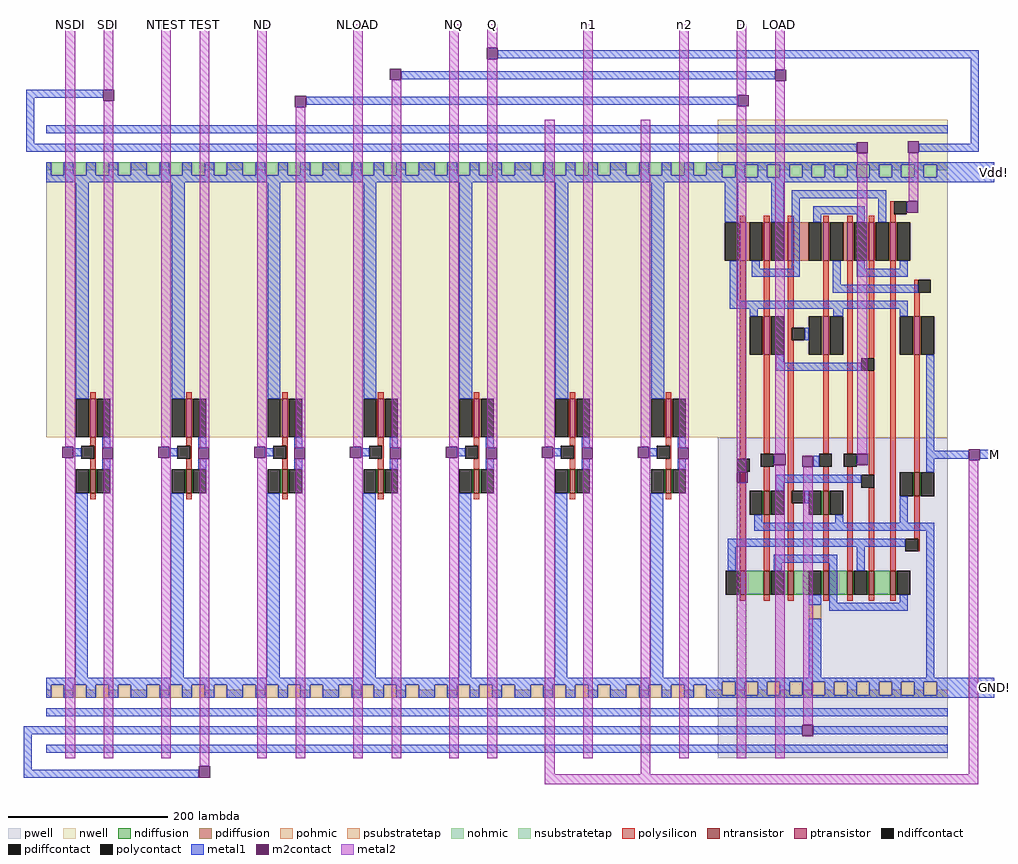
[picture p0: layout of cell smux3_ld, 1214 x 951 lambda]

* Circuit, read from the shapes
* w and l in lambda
.subckt smux3_ld D GND! LOAD M ND NLOAD NQ NSDI NTEST Q SDI TEST Vdd! n1 n2
M1 SDI NSDI GND! VSUBS nfet w=30 l=7
M2 TEST NTEST GND! VSUBS nfet w=30 l=7
M3 D ND GND! VSUBS nfet w=30 l=7
M4 LOAD NLOAD GND! VSUBS nfet w=30 l=7
M5 Q NQ GND! VSUBS nfet w=30 l=7
M6 n1 M GND! VSUBS nfet w=30 l=7
M7 n2 M GND! VSUBS nfet w=30 l=7
M8 n3 D n4 VSUBS nfet w=30 l=7
M9 n5 LOAD n3 VSUBS nfet w=30 l=7
M10 n6 LOAD GND! VSUBS nfet w=30 l=7
M11 n7 n8 n5 VSUBS nfet w=30 l=7
M12 n9 TEST n7 VSUBS nfet w=30 l=7
M13 GND! TEST n8 VSUBS nfet w=30 l=7
M14 n4 SDI n9 VSUBS nfet w=30 l=7
M15 n10 n6 n4 VSUBS nfet w=30 l=7
M16 n5 Q n10 VSUBS nfet w=30 l=7
M17 M n4 GND! VSUBS nfet w=30 l=7
M18 SDI NSDI Vdd! n11 pfet w=48 l=7
M19 TEST NTEST Vdd! n11 pfet w=48 l=7
M20 D ND Vdd! n11 pfet w=48 l=7
M21 LOAD NLOAD Vdd! n11 pfet w=48 l=7
M22 Q NQ Vdd! n11 pfet w=48 l=7
M23 n1 M Vdd! n11 pfet w=48 l=7
M24 n2 M Vdd! n11 pfet w=48 l=7
M25 n12 D Vdd! n11 pfet w=48 l=7
M26 n6 LOAD Vdd! n11 pfet w=48 l=7
M27 Vdd! LOAD n12 n11 pfet w=48 l=7
M28 n13 n8 Vdd! n11 pfet w=48 l=7
M29 Vdd! TEST n8 n11 pfet w=48 l=7
M30 n4 TEST n13 n11 pfet w=48 l=7
M31 n13 SDI n4 n11 pfet w=48 l=7
M32 n12 n6 n13 n11 pfet w=48 l=7
M33 n13 Q n12 n11 pfet w=48 l=7
M34 M n4 Vdd! n11 pfet w=48 l=7
.ends

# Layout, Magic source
magic
tech c035u
<< metal1 >>
rect 593 908 1195 918
rect 472 882 940 892
rect 3 859 99 869
rect 3 801 13 859
rect 353 850 893 860
rect 1185 801 1195 908
rect 3 791 28 801
rect 1156 791 1195 801
rect 1156 753 1214 778
rect 1156 407 1182 417
rect 1196 407 1214 418
rect 1156 108 1214 133
rect 0 62 28 72
rect 0 18 10 62
rect 0 8 219 18
<< m2contact >>
rect 579 907 593 921
rect 458 881 472 895
rect 940 880 954 894
rect 99 855 113 869
rect 339 847 353 861
rect 893 848 907 862
rect 1182 405 1196 419
rect 219 8 233 22
<< metal2 >>
rect 52 831 64 951
rect 100 869 112 951
rect 100 831 112 855
rect 172 831 184 951
rect 220 831 232 951
rect 292 831 304 951
rect 340 831 352 847
rect 412 831 424 951
rect 460 831 472 881
rect 532 831 544 951
rect 580 921 592 951
rect 580 831 592 907
rect 700 831 712 951
rect 820 831 832 951
rect 892 862 904 951
rect 940 894 952 951
rect 892 848 893 862
rect 892 831 904 848
rect 940 831 952 880
rect 220 22 232 32
rect 652 12 664 32
rect 772 12 784 32
rect 1182 12 1194 405
rect 652 0 1194 12
use inv inv_0
array 0 6 120 0 0 799
transform 1 0 28 0 1 32
box 0 0 120 799
use smux3 smux3_0
transform 1 0 868 0 1 32
box 0 0 288 799
<< labels >>
rlabel metal1 1214 108 1214 133 7 GND!
rlabel metal1 1214 753 1214 778 7 Vdd!
rlabel metal2 52 951 64 951 5 NSDI
rlabel metal2 100 951 112 951 5 SDI
rlabel metal2 172 951 184 951 5 NTEST
rlabel metal2 220 951 232 951 5 TEST
rlabel metal2 892 951 904 951 5 D
rlabel metal2 940 951 952 951 5 LOAD
rlabel metal2 292 951 304 951 5 ND
rlabel metal2 412 951 424 951 5 NLOAD
rlabel metal2 532 951 544 951 5 NQ
rlabel metal2 700 951 712 951 5 n1
rlabel metal2 820 951 832 951 5 n2
rlabel metal1 1214 407 1214 417 7 M
rlabel metal2 580 951 592 951 5 Q
<< end >>

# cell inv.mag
magic
tech c035u
<< nwell >>
rect 0 402 120 746
<< polysilicon >>
rect 55 450 62 458
rect 55 391 62 402
rect 60 375 62 391
rect 55 362 62 375
rect 55 324 62 332
<< ndiffusion >>
rect 53 332 55 362
rect 62 332 64 362
<< pdiffusion >>
rect 53 402 55 450
rect 62 402 64 450
<< pohmic >>
rect 0 76 6 86
rect 22 76 34 86
rect 50 76 62 86
rect 78 76 90 86
rect 106 76 120 86
<< nohmic >>
rect 0 736 6 746
rect 22 736 34 746
rect 50 736 62 746
rect 78 736 90 746
rect 106 736 120 746
<< ntransistor >>
rect 55 332 62 362
<< ptransistor >>
rect 55 402 62 450
<< polycontact >>
rect 44 375 60 391
<< ndiffcontact >>
rect 37 332 53 362
rect 64 332 80 362
<< pdiffcontact >>
rect 37 402 53 450
rect 64 402 80 450
<< psubstratetap >>
rect 6 76 22 92
rect 34 76 50 92
rect 62 76 78 92
rect 90 76 106 92
<< nsubstratetap >>
rect 6 730 22 746
rect 34 730 50 746
rect 62 730 78 746
rect 90 730 106 746
<< metal1 >>
rect 0 782 120 792
rect 0 759 120 769
rect 0 730 6 746
rect 22 730 34 746
rect 50 730 62 746
rect 78 730 90 746
rect 106 730 120 746
rect 0 721 120 730
rect 37 450 53 721
rect 34 378 44 388
rect 70 389 80 402
rect 70 362 80 375
rect 36 101 52 332
rect 0 92 120 101
rect 0 76 6 92
rect 22 76 34 92
rect 50 76 62 92
rect 78 76 90 92
rect 106 76 120 92
rect 0 53 120 63
rect 0 30 120 40
rect 0 7 120 17
<< m2contact >>
rect 20 376 34 390
rect 70 375 84 389
<< metal2 >>
rect 24 390 36 799
rect 34 376 36 390
rect 72 389 84 799
rect 24 0 36 376
rect 72 0 84 375
<< labels >>
rlabel metal1 0 721 0 746 7 Vdd!
rlabel metal1 0 759 0 769 7 Scan
rlabel metal1 0 782 0 792 6 ScanReturn
rlabel metal1 120 721 120 746 7 Vdd!
rlabel metal1 120 759 120 769 7 Scan
rlabel metal1 120 782 120 792 6 ScanReturn
rlabel metal2 24 799 36 799 5 A
rlabel metal2 72 799 84 799 5 Y
rlabel metal1 0 76 0 101 7 GND!
rlabel metal1 0 53 0 63 7 Clock
rlabel metal1 0 30 0 40 7 Test
rlabel metal1 0 7 0 17 8 nReset
rlabel metal1 120 7 120 17 8 nReset
rlabel metal1 120 30 120 40 7 Test
rlabel metal1 120 53 120 63 7 Clock
rlabel metal1 120 76 120 101 7 GND!
rlabel metal2 24 0 36 0 1 A
rlabel metal2 72 0 84 0 1 Y
<< end >>

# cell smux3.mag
magic
tech c035u
<< nwell >>
rect 0 401 288 799
<< pwell >>
rect 0 0 288 401
<< polysilicon >>
rect 216 681 221 697
rect 28 671 35 679
rect 58 671 65 679
rect 88 671 95 679
rect 132 671 139 679
rect 162 671 169 679
rect 189 671 196 679
rect 216 671 223 681
rect 28 375 35 623
rect 58 553 65 623
rect 88 539 95 623
rect 132 553 139 623
rect 88 523 93 539
rect 58 381 65 505
rect 28 235 35 359
rect 58 335 65 365
rect 88 335 95 523
rect 132 381 139 505
rect 162 381 169 623
rect 189 501 196 623
rect 132 335 139 365
rect 88 319 93 335
rect 58 235 65 305
rect 88 235 95 319
rect 132 235 139 305
rect 162 235 169 365
rect 189 355 196 485
rect 189 235 196 339
rect 216 235 223 623
rect 246 583 251 599
rect 246 553 253 583
rect 246 358 253 505
rect 246 275 253 328
rect 251 259 253 275
rect 28 197 35 205
rect 58 197 65 205
rect 88 197 95 205
rect 132 197 139 205
rect 162 197 169 205
rect 189 197 196 205
rect 216 197 223 205
<< ndiffusion >>
rect 56 305 58 335
rect 65 305 67 335
rect 130 305 132 335
rect 139 305 141 335
rect 244 328 246 358
rect 253 328 255 358
rect 26 205 28 235
rect 35 205 58 235
rect 65 205 67 235
rect 83 205 88 235
rect 95 205 114 235
rect 130 205 132 235
rect 139 205 162 235
rect 169 205 171 235
rect 187 205 189 235
rect 196 205 216 235
rect 223 205 225 235
<< pdiffusion >>
rect 26 623 28 671
rect 35 623 40 671
rect 56 623 58 671
rect 65 623 67 671
rect 83 623 88 671
rect 95 623 114 671
rect 130 623 132 671
rect 139 623 141 671
rect 157 623 162 671
rect 169 623 171 671
rect 187 623 189 671
rect 196 623 198 671
rect 214 623 216 671
rect 223 623 225 671
rect 56 505 58 553
rect 65 505 67 553
rect 130 505 132 553
rect 139 505 141 553
rect 244 505 246 553
rect 253 505 255 553
<< pohmic >>
rect 0 79 6 86
rect 22 79 34 86
rect 50 79 62 86
rect 78 79 90 86
rect 106 79 118 86
rect 134 79 146 86
rect 162 79 174 86
rect 190 79 202 86
rect 218 79 230 86
rect 246 79 258 86
rect 274 79 288 86
rect 0 76 288 79
<< nohmic >>
rect 0 743 288 746
rect 0 736 6 743
rect 22 736 34 743
rect 50 736 62 743
rect 78 736 90 743
rect 106 736 118 743
rect 134 736 146 743
rect 162 736 174 743
rect 190 736 202 743
rect 218 736 230 743
rect 246 736 258 743
rect 274 736 288 743
<< ntransistor >>
rect 58 305 65 335
rect 132 305 139 335
rect 246 328 253 358
rect 28 205 35 235
rect 58 205 65 235
rect 88 205 95 235
rect 132 205 139 235
rect 162 205 169 235
rect 189 205 196 235
rect 216 205 223 235
<< ptransistor >>
rect 28 623 35 671
rect 58 623 65 671
rect 88 623 95 671
rect 132 623 139 671
rect 162 623 169 671
rect 189 623 196 671
rect 216 623 223 671
rect 58 505 65 553
rect 132 505 139 553
rect 246 505 253 553
<< polycontact >>
rect 221 681 237 697
rect 93 523 109 539
rect 24 359 40 375
rect 54 365 70 381
rect 180 485 196 501
rect 127 365 143 381
rect 158 365 174 381
rect 93 319 109 335
rect 180 339 196 355
rect 251 583 267 599
rect 235 259 251 275
<< ndiffcontact >>
rect 40 305 56 335
rect 67 305 83 335
rect 114 305 130 335
rect 141 305 157 335
rect 228 328 244 358
rect 255 328 271 358
rect 10 205 26 235
rect 67 205 83 235
rect 114 205 130 235
rect 171 205 187 235
rect 225 205 241 235
<< pdiffcontact >>
rect 9 623 26 671
rect 40 623 56 671
rect 67 623 83 671
rect 114 623 130 671
rect 141 623 157 671
rect 171 623 187 671
rect 198 623 214 671
rect 225 623 241 671
rect 40 505 56 553
rect 67 505 83 553
rect 114 505 130 553
rect 141 505 157 553
rect 228 505 244 553
rect 255 505 271 553
<< psubstratetap >>
rect 114 175 130 192
rect 6 79 22 96
rect 34 79 50 96
rect 62 79 78 96
rect 90 79 106 96
rect 118 79 134 96
rect 146 79 162 96
rect 174 79 190 96
rect 202 79 218 96
rect 230 79 246 96
rect 258 79 274 96
<< nsubstratetap >>
rect 6 727 22 743
rect 34 727 50 743
rect 62 727 78 743
rect 90 727 106 743
rect 118 727 134 743
rect 146 727 162 743
rect 174 727 190 743
rect 202 727 218 743
rect 230 727 246 743
rect 258 727 274 743
<< metal1 >>
rect 0 782 288 792
rect 0 759 174 769
rect 252 759 288 769
rect 0 743 288 746
rect 0 727 6 743
rect 22 727 34 743
rect 50 727 62 743
rect 78 727 90 743
rect 106 727 118 743
rect 134 727 146 743
rect 162 727 174 743
rect 190 727 202 743
rect 218 727 230 743
rect 246 727 258 743
rect 274 727 288 743
rect 0 721 288 727
rect 9 671 26 721
rect 67 671 83 721
rect 93 701 211 711
rect 15 573 26 623
rect 43 613 53 623
rect 93 613 103 701
rect 120 681 184 691
rect 120 671 130 681
rect 174 671 184 681
rect 201 671 211 701
rect 43 603 103 613
rect 144 593 154 623
rect 174 613 184 623
rect 228 613 238 623
rect 174 603 238 613
rect 144 583 251 593
rect 15 563 238 573
rect 40 553 50 563
rect 145 553 157 563
rect 109 523 114 539
rect 228 553 238 563
rect 73 495 83 505
rect 73 485 180 495
rect 261 385 271 505
rect 120 365 127 379
rect 261 375 288 385
rect 261 358 271 375
rect 73 345 180 355
rect 73 335 83 345
rect 109 319 114 335
rect 46 295 56 305
rect 147 295 157 305
rect 228 295 238 328
rect 46 285 271 295
rect 13 265 235 275
rect 13 235 23 265
rect 70 245 150 255
rect 70 235 80 245
rect 114 192 130 205
rect 140 195 150 245
rect 174 235 184 265
rect 228 195 238 205
rect 140 185 238 195
rect 114 101 130 175
rect 261 101 271 285
rect 0 96 288 101
rect 0 79 6 96
rect 22 79 34 96
rect 50 79 62 96
rect 78 79 90 96
rect 106 79 118 96
rect 134 79 146 96
rect 162 79 174 96
rect 190 79 202 96
rect 218 79 230 96
rect 246 79 258 96
rect 274 79 288 96
rect 0 76 288 79
rect 0 53 288 63
rect 0 30 106 40
rect 120 30 288 40
rect 0 7 288 17
<< m2contact >>
rect 174 757 188 771
rect 238 758 252 772
rect 237 683 251 697
rect 70 367 85 381
rect 106 365 120 379
rect 174 367 188 381
rect 24 345 38 359
rect 106 28 120 42
<< metal2 >>
rect 24 359 36 799
rect 72 381 84 799
rect 175 743 187 757
rect 174 727 187 743
rect 175 381 187 727
rect 239 697 251 758
rect 24 0 36 345
rect 72 0 84 367
rect 107 42 119 365
<< labels >>
rlabel metal1 0 782 0 792 3 ScanReturn
rlabel metal1 0 759 0 769 3 SDI
rlabel metal1 0 721 0 746 3 Vdd!
rlabel metal1 288 721 288 746 1 Vdd!
rlabel metal1 288 759 288 769 7 Q
rlabel metal1 288 782 288 792 7 ScanReturn
rlabel metal2 24 799 36 799 5 D
rlabel metal1 0 76 0 101 3 GND!
rlabel metal1 0 30 0 40 3 Test
rlabel metal1 0 7 0 17 2 nReset
rlabel metal1 0 53 0 63 3 Clock
rlabel metal1 288 53 288 63 7 Clock
rlabel metal1 288 30 288 40 7 Test
rlabel metal1 288 7 288 17 8 nReset
rlabel metal1 288 76 288 101 7 GND!
rlabel metal2 24 0 36 0 1 D
rlabel metal1 288 375 288 385 7 M
rlabel metal2 72 0 84 0 1 Load
rlabel metal2 72 799 84 799 5 Load
<< end >>
